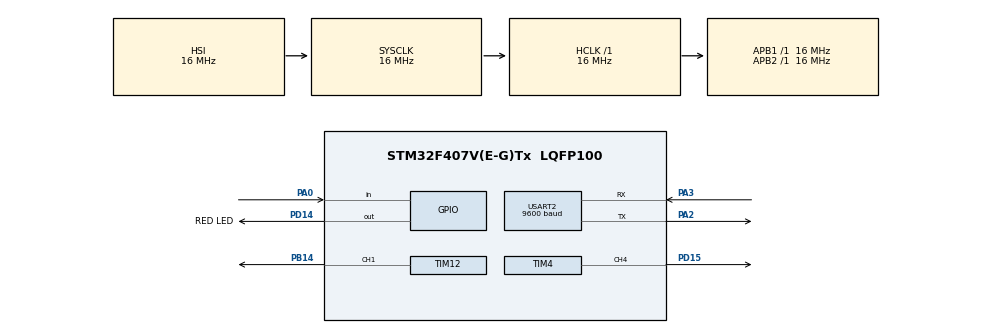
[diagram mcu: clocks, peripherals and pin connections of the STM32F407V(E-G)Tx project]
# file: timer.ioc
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Dma.Request0=USART2_TX
Dma.USART2_TX.0.Direction=DMA_MEMORY_TO_PERIPH
Dma.USART2_TX.0.FIFOMode=DMA_FIFOMODE_DISABLE
Dma.USART2_TX.0.Instance=DMA1_Stream6
Dma.USART2_TX.0.MemDataAlignment=DMA_MDATAALIGN_BYTE
Dma.USART2_TX.0.MemInc=DMA_MINC_ENABLE
Dma.USART2_TX.0.Mode=DMA_NORMAL
Dma.USART2_TX.0.PeriphDataAlignment=DMA_PDATAALIGN_BYTE
Dma.USART2_TX.0.PeriphInc=DMA_PINC_DISABLE
Dma.USART2_TX.0.Priority=DMA_PRIORITY_LOW
Mcu.Family=STM32F4
Mcu.Name=STM32F407V(E-G)Tx
Mcu.Package=LQFP100
NVIC.DMA1_Stream6_IRQn=true\:0\:0\:false\:false\:true\:false\:true\:true
NVIC.PriorityGroup=NVIC_PRIORITYGROUP_4
NVIC.USART2_IRQn=true\:0\:0\:false\:false\:true\:true\:true\:true
PA0-WKUP.Signal=GPIO_Input
PA2.Mode=Asynchronous
PA2.Signal=USART2_TX
PA3.Mode=Asynchronous
PA3.Signal=USART2_RX
PB14.Signal=S_TIM12_CH1
PD14.GPIO_Label=RED LED
PD14.Signal=GPIO_Output
PD15.Signal=S_TIM4_CH4
PH0-OSC_IN.Mode=HSE-External-Oscillator
PH0-OSC_IN.Signal=RCC_OSC_IN
PH1-OSC_OUT.Mode=HSE-External-Oscillator
PH1-OSC_OUT.Signal=RCC_OSC_OUT
ProjectManager.HeapSize=0x200
ProjectManager.StackSize=0x400
ProjectManager.TargetToolchain=STM32CubeIDE
RCC.AHBFreq_Value=16000000
RCC.APB1Freq_Value=16000000
RCC.APB2Freq_Value=16000000
RCC.CortexFreq_Value=16000000
RCC.HSE_VALUE=25000000
RCC.HSI_VALUE=16000000
RCC.LSE_VALUE=32768
RCC.SYSCLKFreq_VALUE=16000000
RCC.VCOOutputFreq_Value=192000000
SH.S_TIM12_CH1.0=TIM12_CH1,PWM Generation1 CH1
SH.S_TIM4_CH4.0=TIM4_CH4,PWM Generation4 CH4
TIM12.Channel-PWM\ Generation1\ CH1=TIM_CHANNEL_1
TIM13.Period=2000
TIM13.Prescaler=15999
TIM14.Period=5000
TIM14.Prescaler=15999
TIM4.AutoReloadPreload=TIM_AUTORELOAD_PRELOAD_ENABLE
TIM4.Channel-PWM\ Generation4\ CH4=TIM_CHANNEL_4
TIM4.Period=999
TIM4.Prescaler=15
USART2.BaudRate=9600
USART2.VirtualMode=VM_ASYNC
VP_TIM13_VS_ClockSourceINT.Mode=Enable_Timer
VP_TIM14_VS_ClockSourceINT.Mode=Enable_Timer
VP_TIM4_VS_ClockSourceINT.Mode=Internal
board=custom

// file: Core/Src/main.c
/* USER CODE BEGIN Header */
/**
  ******************************************************************************
  * @file           : main.c
  * @brief          : Main program body
  ******************************************************************************
  * @attention
  *
  * Copyright (c) 2024 STMicroelectronics.
  * All rights reserved.
  *
  * This software is licensed under terms that can be found in the LICENSE file
  * in the root directory of this software component.
  * If no LICENSE file comes with this software, it is provided AS-IS.
  *
  ******************************************************************************
  */
/* USER CODE END Header */
#include "main.h"
#include "dma.h"
#include "tim.h"
#include "usart.h"
#include "gpio.h"

/* USER CODE BEGIN Includes */
#include <stdio.h>
#include "stm32F4xx.h"
/* USER CODE END Includes */

/* USER CODE BEGIN PTD */

//typedef void (*ButtonPressCallback)(TIM_HandleTypeDef *);
//typedef void (*ButtonReleaseCallback)(TIM_HandleTypeDef *);

typedef void (*ButtonCallback)(TIM_HandleTypeDef *);
typedef void (*TimerCallback)(TIM_HandleTypeDef *);

typedef struct {
    GPIO_TypeDef* port;
    uint16_t pin;
    ButtonCallback press_callback;
    ButtonCallback release_callback;
} Button;

typedef struct {
    TimerCallback startTimer;
    ButtonCallback stopTimer;
} TimerON;

void startTimer1(TIM_HandleTypeDef *htim) {
}

void stopTimer1(TIM_HandleTypeDef *htim) {
}

TimerON timers[]=
{
		{startTimer1, stopTimer1},
};

/* USER CODE END PTD */

/* USER CODE BEGIN PD */

void handleButtonPress1(TIM_HandleTypeDef *htim) {

			uint16_t timer_val;
			timer_val = __HAL_TIM_GET_COUNTER(htim);
			 if (timer_val>=2000)
			 {
			 HAL_GPIO_WritePin(RED_LED_GPIO_Port, RED_LED_Pin, GPIO_PIN_SET);

			 printf("Wartosc timera: %d\n", timer_val);
			 HAL_Delay(100);
			 }

}

void handleButtonRelease1(TIM_HandleTypeDef *htim) {

			HAL_GPIO_WritePin(RED_LED_GPIO_Port, RED_LED_Pin, GPIO_PIN_RESET);
			htim->Instance->CNT = 0;
}

Button buttons[] = {
    {GPIOA, GPIO_PIN_0, handleButtonPress1, handleButtonRelease1},
};

#define NUM_BUTTONS (sizeof(buttons) / sizeof(buttons[0]))

/* USER CODE END PD */

void SystemClock_Config(void);

/* USER CODE BEGIN 0 */

//void handleButtonPress1(void);
//void handleButtonPress2(void);

/* USER CODE END 0 */

int main(void)
{

  /* MCU Configuration--------------------------------------------------------*/

  /* Reset of all peripherals, Initializes the Flash interface and the Systick. */
  HAL_Init();

  /* Configure the system clock */
  SystemClock_Config();

  /* Initialize all configured peripherals */
  MX_GPIO_Init();
  MX_DMA_Init();
  MX_TIM14_Init();
  MX_USART2_UART_Init();
  MX_TIM13_Init();
  MX_TIM4_Init();
  MX_TIM12_Init();
  /* USER CODE BEGIN 2 */
 // uart_buf_len = sprintf(uart_buf, "Timer test\r\n");
 // HAL_UART_Transmit(&husart2, (uint8_t *)uart_buf, uart_buf_len, 100);
  //Start timer
  HAL_TIM_Base_Start(&htim14);
  HAL_TIM_PWM_Start(&htim4, TIM_CHANNEL_4);
  /* USER CODE END 2 */

  /* Infinite loop */
  /* USER CODE BEGIN WHILE */

	 uint32_t dutyCycle = 500; // Example: 50% duty cycle
	 __HAL_TIM_SET_COMPARE(&htim4, TIM_CHANNEL_4, dutyCycle);

  while (1)
  {

	  for (int i = 0; i < NUM_BUTTONS; i++)
	  {
	              if (HAL_GPIO_ReadPin(buttons[i].port, buttons[i].pin) == 1)
	              {
	                  buttons[i].press_callback(&htim14);
	              }
	              if (HAL_GPIO_ReadPin(buttons[i].port, buttons[i].pin) == 0)
	              {
	            	  buttons[i].release_callback(&htim14);
	              }
	    }
  }
    /* USER CODE END WHILE */

}

void SystemClock_Config(void)
{
  RCC_OscInitTypeDef RCC_OscInitStruct = {0};
  RCC_ClkInitTypeDef RCC_ClkInitStruct = {0};

  /** Configure the main internal regulator output voltage
  */
  __HAL_RCC_PWR_CLK_ENABLE();
  __HAL_PWR_VOLTAGESCALING_CONFIG(PWR_REGULATOR_VOLTAGE_SCALE1);

  /** Initializes the RCC Oscillators according to the specified parameters
  * in the RCC_OscInitTypeDef structure.
  */
  RCC_OscInitStruct.OscillatorType = RCC_OSCILLATORTYPE_HSI;
  RCC_OscInitStruct.HSIState = RCC_HSI_ON;
  RCC_OscInitStruct.HSICalibrationValue = RCC_HSICALIBRATION_DEFAULT;
  RCC_OscInitStruct.PLL.PLLState = RCC_PLL_NONE;
  if (HAL_RCC_OscConfig(&RCC_OscInitStruct) != HAL_OK)
  {
    Error_Handler();
  }

  /** Initializes the CPU, AHB and APB buses clocks
  */
  RCC_ClkInitStruct.ClockType = RCC_CLOCKTYPE_HCLK|RCC_CLOCKTYPE_SYSCLK
                              |RCC_CLOCKTYPE_PCLK1|RCC_CLOCKTYPE_PCLK2;
  RCC_ClkInitStruct.SYSCLKSource = RCC_SYSCLKSOURCE_HSI;
  RCC_ClkInitStruct.AHBCLKDivider = RCC_SYSCLK_DIV1;
  RCC_ClkInitStruct.APB1CLKDivider = RCC_HCLK_DIV1;
  RCC_ClkInitStruct.APB2CLKDivider = RCC_HCLK_DIV1;

  if (HAL_RCC_ClockConfig(&RCC_ClkInitStruct, FLASH_LATENCY_0) != HAL_OK)
  {
    Error_Handler();
  }
}

void Error_Handler(void)
{
  __disable_irq();
  while (1)
  {
  }
}
